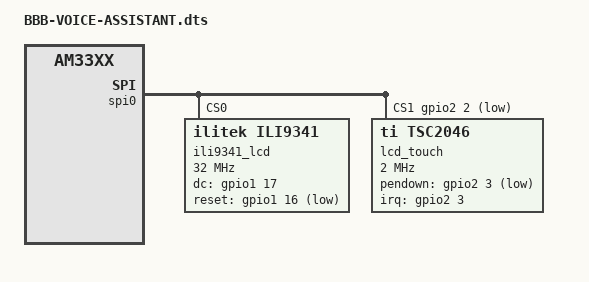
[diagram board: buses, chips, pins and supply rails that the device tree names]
/dts-v1/;
/plugin/;

/ {
    compatible = "ti,am335x-bone-black", "ti,am33xx", "ti,beaglebone-black";

    /* Fragment 0: mux the physical pins */
    fragment@0 {
        target = <&am33xx_pinmux>;
        __overlay__ {
            bb_ili9341_spi0_pins: pinmux_bb_ili9341_spi0_pins {
                pinctrl-single,pins = <
                    0x150 0x10   /* P9_22 spi0_sclk,        OUTPUT_PULLUP | MODE0 */
                    0x154 0x10   /* P9_21 spi0_d0 (MOSI),   OUTPUT_PULLUP  | MODE0 */
                    0x158 0x30   /* P9_18 spi0_d1 (MISO),   INPUT_PULLUP | MODE0 */
                    0x15c 0x10   /* P9_17 spi0_cs0,         OUTPUT_PULLUP | MODE0 */
                >;
            };

            bb_ili9341_ctrl_pins: pinmux_bb_ili9341_ctrl_pins {
                pinctrl-single,pins = <
                    0x040 0x0f   /* P9_15 gpmc_a0.gpio1_16 (RESET), OUTPUT | PULLDIS | MODE7 */
                    0x044 0x0f   /* P9_23 gpmc_a1.gpio1_17 (DC),    OUTPUT | PULLDIS | MODE7 */
                >;
            };

            bb_touch_pins: pinmux_bb_touch_pins {
                pinctrl-single,pins = <
                    0x090 0x0f   /* P8_07 gpio2[2](T_CS),   OUTPUT | PULLDIS | MODE7 */
                    0x094 0x37   /* P8_08 gpio2[3](T_IRQ),  INPUT_PULLUP  | MODE7 */
                >;
            };

            push_to_talk_pin: pinmux_push_to_talk_pin {
                pinctrl-single,pins = <
                    0x09c 0x37   /* P8_09 gpio2[5](PTT),    INPUT_PULLUP | MODE7 */
                >;
            };

            volume_pins: pinmux_volume_pins {
                pinctrl-single,pins = <
                    0x098 0x37   /* P8_10 gpio2[4](vol+),   INPUT_PULLUP | MODE7 */
                    0x034 0x37   /* P8_11 gpio1[13](vol-),  INPUT_PULLUP | MODE7 */
                >;
            };

            rgb_led_pins: pinmux_rgb_led_pins {
                pinctrl-single,pins = <
                    0x028 0x0f   /* P8_14 gpio0[26](Red),   OUTPUT | PULLDIS | MODE7 */
                    0x03c 0x0f   /* P8_15 gpio1[15](Green), OUTPUT | PULLDIS | MODE7 */
                    0x038 0x0f   /* P8_16 gpio1[14](Blue),  OUTPUT | PULLDIS | MODE7 */
                >;
            };
        };
    };

    /* Fragment 1: enable spi0 and attach the panel driver */
    fragment@1 {
        target = <&spi0>;
        __overlay__ {
            #address-cells = <1>;
            #size-cells = <0>;
            ti,pindir-d0-out-d1-in = <1>;
            cs-gpios = <0 &gpio2 2 1>; /* GPIO_ACTIVE_LOW */
            status = "okay";
            pinctrl-names = "default";
            pinctrl-0 = <
                &bb_ili9341_spi0_pins &bb_touch_pins
                &push_to_talk_pin &volume_pins &rgb_led_pins /* not meaningful way, but to achieve libgpiod method */
            >;

            ili9341_lcd: display@0 {
                compatible = "ilitek,ili9341", "adafruit,yx240qv29","multi-inno,mi0283qt";
                reg = <0>;
                buswidth = <8>;
                pinctrl-names = "default";
                pinctrl-0 = <&bb_ili9341_ctrl_pins>;
                spi-max-frequency = <32000000>;
                rotate = <180>;
                dc-gpios    = <&gpio1 17 0>;   /* active-high select line */
                reset-gpios = <&gpio1 16 1>;   /* active-low reset */
            };

            lcd_touch: touch@1 {
                compatible = "ti,tsc2046";
                reg = <1>;
                spi-max-frequency = <2000000>;
                interrupt-parent = <&gpio2>;
                interrupts = <3 2>; /* (IRQ_TYPE_EDGE_FALLING - PENIRQ on gpio2[3]) */
                pendown-gpio = <&gpio2 3 1>; /* GPIO_ACTIVE_LOW */
                /* ads7846 tuning — all values are u16, hence /bits/ 16 (32-bit cells are misread) */

                /* X-plate resistance (ohms). Used to compute touch pressure Rt; also sets
                 * sensitivity. ~600 is typical for XPT2046 panels — tune per module. */
                /*ti,x-plate-ohms      = /bits/ 16 <600>; */
                /* Max accepted pressure. Samples with Rt above this are dropped as a light/
                 * spurious touch, so a finger press registers but noise does not. */
                ti,pressure-max      = /bits/ 16 <65535>;
                /* Debounce: take up to <max> samples per point... */
                ti,debounce-max      = /bits/ 16 <10>;
                /* ...reject the point if consecutive samples differ by more than <tol>... */
                ti,debounce-tol      = /bits/ 16 <30>;
                /* ...and require <rep> consistent reads before reporting it. */
                ti,debounce-rep      = /bits/ 16 <1>;
                /* Settle time after switching the ADC mux channel before sampling. Critical:
                 * without it the analog line hasn't settled and X/Y come back as garbage/0. */
                ti,settle-delay-usec = /bits/ 16 <150>;
                /* Keep the internal Vref on between conversions → steadier pressure readings. */
                ti,keep-vref-on;
                /* Allow a touch to wake the system from suspend. */
                wakeup-source;
            };
        };
    };
};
